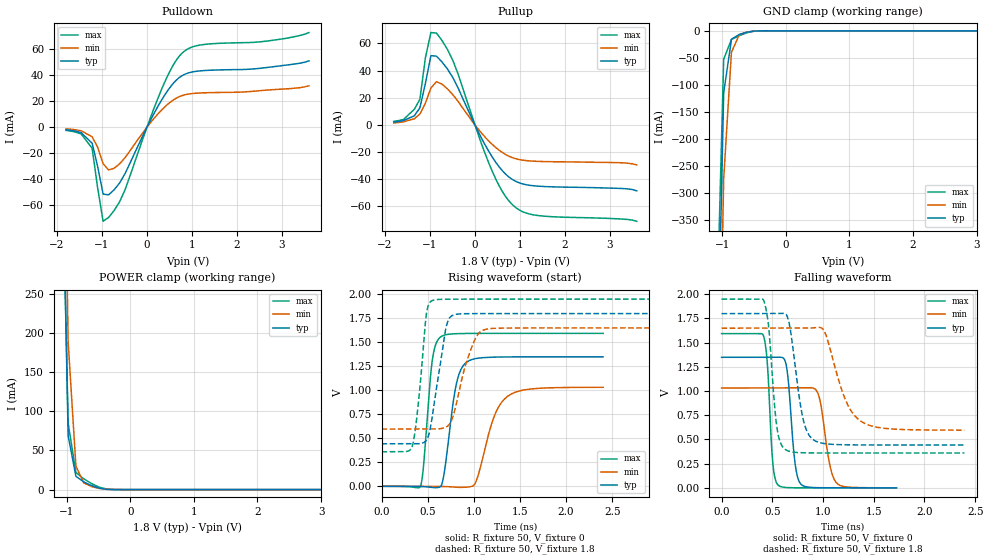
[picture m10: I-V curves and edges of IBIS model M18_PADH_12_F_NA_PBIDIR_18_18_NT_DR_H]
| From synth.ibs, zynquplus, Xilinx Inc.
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[Model] M18_PADH_12_F_NA_PBIDIR_18_18_NT_DR_H
Model_type I/O
Vinl  =  0.63
Vinh  =  1.17
Vmeas =  0.90
Vref  =  0.90
| Capacitance   typ   min   max
C_comp   2.42338826902e-12   2.41853784282e-12   2.42527464697e-12
| Variables   typ   min   max
[GND Clamp Reference]   0   0   0
[POWER Clamp Reference]   1.8   1.65   1.95
[Pulldown Reference]   0   0   0
[Pullup Reference]   1.8   1.65   1.95
[Temperature Range]   25   125   -40
[Voltage Range]   1.8   1.65   1.95
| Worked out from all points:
|   slope of the pulldown table from 0 to 0.27 V, typ, clamps not added: 15.3 ohm
|   slope of the pullup table from 0 to 0.27 V, typ, clamps not added: 15.6 ohm
|   GND clamp passes 1 mA (typ) near -0.52 V on its own axis
|   POWER clamp passes 1 mA (typ) near -0.42 V on its own axis
|   falling waveform, R_fixture 50, V_fixture 0: 20-80 % time 61.8ps typ, 89.3ps min, 48ps max; typ from 1.35 V to 0 V
|   falling waveform, R_fixture 50, V_fixture 1.8: 20-80 % time 110ps typ, 201ps min, 71.5ps max; typ from 1.8 V to 0.443 V
|   rising waveform, R_fixture 50, V_fixture 0: 20-80 % time 115ps typ, 194ps min, 80.5ps max; typ from 0 V to 1.35 V
|   rising waveform, R_fixture 50, V_fixture 1.8: 20-80 % time 128ps typ, 176ps min, 90.7ps max; typ from 0.443 V to 1.8 V
[GND Clamp]
| Voltage   I(typ)   I(min)   I(max)
-1.8V     -8.145A    -7.608A    -8.717A
-1.097V   -761mA     -1.004A    -593mA
-975mV    -114.8mA   -273.3mA   -52.67mA
-853.1mV  -15.73mA   -39.57mA   -15.8mA
-731.2mV  -6.674mA   -7.503mA   -8.974mA
-609.4mV  -2.475mA   -2.188mA   -3.569mA
-487.5mV  -352.5uA   -416.6uA   -501uA
-365.6mV  -8.518uA   -27.49uA   -5.911uA
3.6V      0A         0A         0A
[POWER Clamp]
| Voltage   I(typ)   I(min)   I(max)
-1.8V     8.169A     7.712A     8.61A
-1.097V   571mA      802.9mA    525.4mA
-975mV    68.73mA    188.8mA    84.81mA
-853.1mV  17.09mA    30.23mA    21.99mA
-731.2mV  9.893mA    8.687mA    13.86mA
-609.4mV  5.253mA    3.946mA    7.809mA
-487.5mV  1.881mA    1.564mA    3.118mA
-365.6mV  236.8uA    397.8uA    610.4uA
-243.7mV  4.797uA    173.9uA    37.81uA
3.6V      0A         0A         0A
[Pulldown]
| Voltage   I(typ)   I(min)   I(max)
-1.8V     -1.981mA   -1.295mA   -2.475mA
-1.462V   -4.208mA   -2.744mA   -5.206mA
-1.219V   -12.26mA   -7.328mA   -16.11mA
-975mV    -51.3mA    -27.98mA   -72.13mA
-853.1mV  -51.86mA   -32.76mA   -69.17mA
-609.4mV  -42.82mA   -28.13mA   -57.23mA
309.4mV   19.91mA    12.61mA    27.77mA
562.5mV   32.69mA    20.3mA     46.31mA
787.5mV   39.63mA    24.29mA    56.97mA
1.181V    43.16mA    26.22mA    62.98mA
2.653V    45.69mA    28.42mA    65.98mA
3.6V      50.86mA    31.74mA    72.53mA
[Pullup]
| Voltage   I(typ)   I(min)   I(max)
-1.8V     1.98mA     1.298mA    2.475mA
-1.584V   3.045mA    2.126mA    3.846mA
-1.341V   6.624mA    4.398mA    11.47mA
-1.219V   12.51mA    7.95mA     18.83mA
-1.097V   30.48mA    15.93mA    49.38mA
-975mV    50.99mA    27.09mA    68.07mA
-853.1mV  50.65mA    31.72mA    67.73mA
-487.5mV  34.86mA    22.21mA    47.52mA
421.9mV   -25.54mA   -15.55mA   -36.87mA
843.8mV   -40.59mA   -24.39mA   -59.28mA
1.406V    -45.39mA   -27.08mA   -67.09mA
3.6V      -48.86mA   -29.65mA   -71.35mA
[Ramp]
dV/dt_r   0.809359/0.115437n  0.618952/0.194451n  0.956158/80.5228p
dV/dt_f   0.814475/0.110067n  0.632491/0.2016n  0.954359/71.5841p
R_load = 50
[Falling Waveform]
R_fixture = 50
V_fixture = 0
V_fixture_min = 0
V_fixture_max = 0
| Time   V(typ)   V(min)   V(max)
0s        1.349V     1.032V     1.594V
415.1ps   1.35V      1.032V     1.567V
505.7ps   1.35V      1.032V     252.7mV
554.6ps   1.35V      1.032V     32.31mV
638.4ps   1.265V     1.032V     3.771mV
721.9ps   275.7mV    1.032V     956.7uV
786.9ps   33.31mV    1.032V     751.6uV
949ps     1.997mV    979.9mV    751.6uV
1.13ns    791.8uV    55.39mV    751.5uV
1.724ns   138.9uV    444.3uV    751.3uV
[Falling Waveform]
R_fixture = 50
V_fixture = 1.8
V_fixture_min = 1.65
V_fixture_max = 1.95
| Time   V(typ)   V(min)   V(max)
0s        1.8V       1.65V      1.95V
416.5ps   1.801V     1.65V      1.935V
464.2ps   1.801V     1.651V     1.669V
547.7ps   1.801V     1.651V     612.1mV
629.8ps   1.799V     1.651V     395.4mV
800.2ps   728mV      1.651V     362.6mV
900.8ps   500.4mV    1.653V     360.6mV
1.014ns   457.8mV    1.617V     360.4mV
1.372ns   443.3mV    689.5mV    360.4mV
2.395ns   443mV      596.2mV    360.4mV
[Rising Waveform]
R_fixture = 50
V_fixture = 0
V_fixture_min = 0
V_fixture_max = 0
| Time   V(typ)   V(min)   V(max)
0s        383.3nV    1.01uV     265nV
423ps     -1.994mV   -563.2uV   652.5uV
551.9ps   -12.62mV   -735.2uV   1.326V
653ps     22.13mV    -1.864mV   1.565V
804.6ps   1.038V     -9.332mV   1.589V
916.8ps   1.289V     -9.886mV   1.592V
1.023ns   1.331V     48.33mV    1.593V
1.212ns   1.345V     704.7mV    1.593V
1.366ns   1.348V     937mV      1.593V
2.402ns   1.349V     1.031V     1.593V
[Rising Waveform]
R_fixture = 50
V_fixture = 1.8
V_fixture_min = 1.65
V_fixture_max = 1.95
| Time   V(typ)   V(min)   V(max)
0s        442.5mV    595.8mV    359.4mV
329.9ps   442.6mV    596.2mV    410.1mV
388.8ps   442.6mV    596.3mV    779.2mV
484.5ps   477.8mV    596.4mV    1.786V
561.2ps   800.7mV    596.5mV    1.94V
698.6ps   1.653V     617.2mV    1.949V
798.7ps   1.79V      811.5mV    1.949V
1.001ns   1.799V     1.507V     1.95V
1.171ns   1.799V     1.642V     1.95V
6.4ns     1.8V       1.649V     1.95V
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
